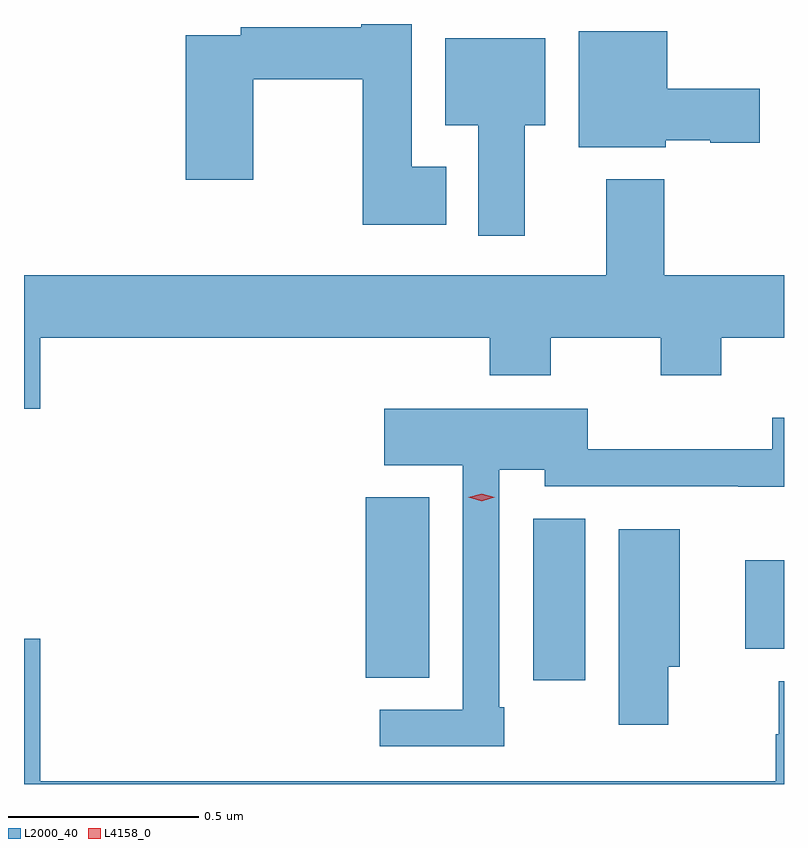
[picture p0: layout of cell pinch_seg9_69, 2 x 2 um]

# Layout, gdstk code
import gdstk
lib = gdstk.Library(unit=1e-6, precision=1e-09)
def R(c, l, rs):  # rectangles x0, y0, x1, y1
    for r in rs: c.add(gdstk.rectangle(r[:2], r[2:], *l))
def P(c, l, *ps):  # polygons
    for p in ps: c.add(gdstk.Polygon(p, *l))
L2000_40 = (2000, 40)
L4158_0 = (4158, 0)

pinch_seg9_69 = lib.new_cell('pinch_seg9_69')
R(pinch_seg9_69, L2000_40, [(981.653,1196.85,981.79,1197.275), (981.212,1196.857,981.379,1197.331), (982.211,1196.933,982.313,1197.166)])
P(pinch_seg9_69, L2000_40, [(981.424,1198.201),(981.334,1198.201),(981.334,1198.577),(981.2,1198.577),(981.2,1198.568),(980.884,1198.568),(980.884,1198.548),(980.738,1198.548),(980.738,1198.167),(980.916,1198.167),(980.916,1198.432),(981.205,1198.432),(981.205,1198.049),(981.424,1198.049)],
  [(982.002,1198.271),(982.119,1198.271),(982.119,1198.264),(982.249,1198.264),(982.249,1198.406),(982.006,1198.406),(982.006,1198.558),(981.773,1198.558),(981.773,1198.253),(982.002,1198.253)],
  [(981.631,1198.31),(981.685,1198.31),(981.685,1198.54),(981.422,1198.54),(981.422,1198.31),(981.509,1198.31),(981.509,1198.02),(981.631,1198.02)],
  [(980.356,1197.752),(981.539,1197.752),(981.539,1197.653),(981.699,1197.653),(981.699,1197.752),(981.988,1197.752),(981.988,1197.653),(982.148,1197.653),(982.148,1197.752),(982.313,1197.752),(982.313,1197.916),(981.998,1197.916),(981.998,1198.168),(981.845,1198.168),(981.845,1197.916),(980.313,1197.916),(980.313,1197.564),(980.356,1197.564)],
  [(981.577,1196.779),(981.564,1196.779),(981.564,1197.404),(981.683,1197.404),(981.683,1197.36),(982.193,1197.36),(982.193,1197.359),(982.313,1197.359),(982.313,1197.541),(982.282,1197.541),(982.282,1197.458),(981.796,1197.458),(981.796,1197.565),(981.261,1197.565),(981.261,1197.416),(981.468,1197.416),(981.468,1196.772),(981.249,1196.772),(981.249,1196.676),(981.577,1196.676)],
  [(982.008,1196.885),(982.039,1196.885),(982.039,1197.247),(981.878,1197.247),(981.878,1196.733),(982.008,1196.733)],
  [(982.313,1196.848),(982.299,1196.848),(982.299,1196.708),(982.291,1196.708),(982.291,1196.584),(980.356,1196.584),(980.356,1196.959),(980.313,1196.959),(980.313,1196.577),(982.313,1196.577)])
P(pinch_seg9_69, L4158_0, [(981.517,1197.321),(981.482,1197.331),(981.482,1197.331),(981.482,1197.332),(981.517,1197.341),(981.552,1197.332),(981.552,1197.331),(981.552,1197.331)])

lib.write_gds('pinch_seg9_69.gds')
